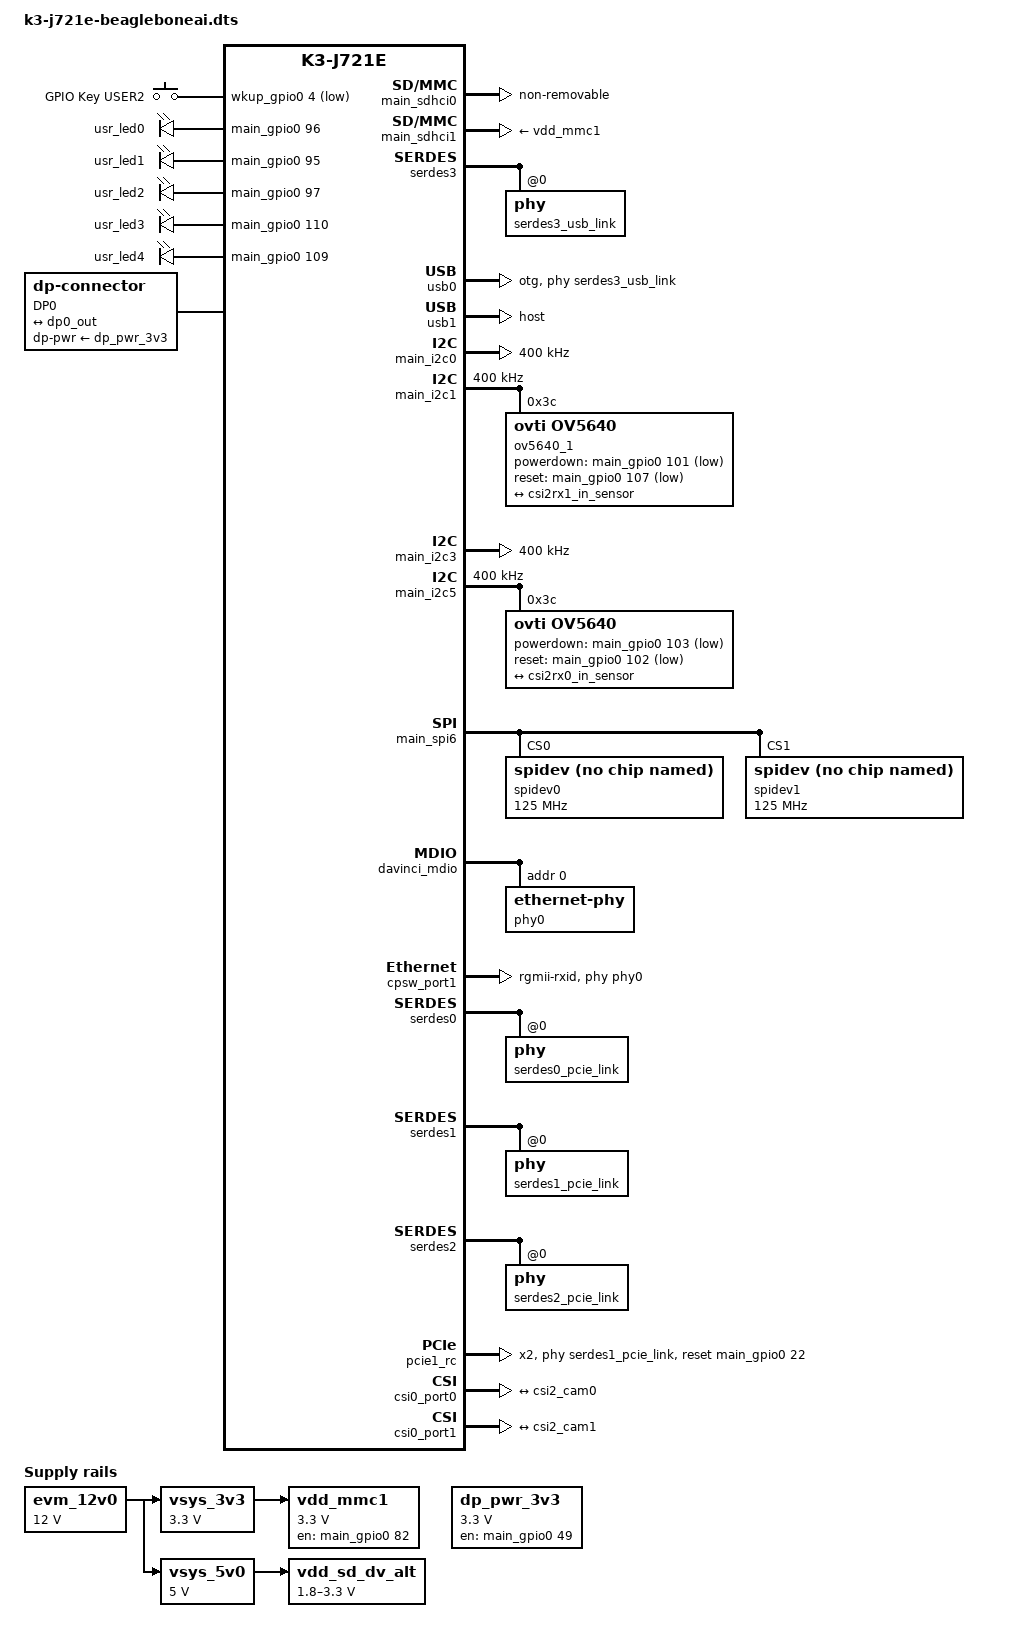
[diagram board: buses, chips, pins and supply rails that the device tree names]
// SPDX-License-Identifier: GPL-2.0
/*
 * Copyright (C) 2019 Texas Instruments Incorporated - https://www.ti.com/
 */

/dts-v1/;

#include "k3-j721e-som-p0.dtsi"
#include <dt-bindings/gpio/gpio.h>
#include <dt-bindings/input/input.h>
#include <dt-bindings/net/ti-dp83867.h>

/ {
	chosen {
		stdout-path = "serial2:115200n8";
		bootargs = "console=ttyS2,115200n8 earlycon=ns16550a,mmio32,0x02800000";
		base_dtb = "k3-j721e-beagleboneai.dts";
		base_dtb_timestamp = __TIMESTAMP__;
	};

	gpio_keys: gpio-keys {
		compatible = "gpio-keys";
		autorepeat;
		pinctrl-names = "default";
		pinctrl-0 = <&sw_pwr_pins_default>;
		sw2: sw2 {
			label = "GPIO Key USER2";
			linux,code = <BTN_0>;
			gpios = <&wkup_gpio0 4 GPIO_ACTIVE_LOW>;
		};
	};

	gpio_leds: gpio-leds {
		compatible = "gpio-leds";
		pinctrl-names = "default";
		pinctrl-0 = <&led_pins_default>;

		usr_led0: usr_led0 {
			label = "usr_led0";
			default-state = "keep";
			linux,default-trigger = "mmc0";
			gpios = <&main_gpio0 96 GPIO_ACTIVE_HIGH>;
		};

		usr_led1: usr_led1 {
			label = "usr_led1";
			default-state = "keep";
			linux,default-trigger = "mmc1";
			gpios = <&main_gpio0 95 GPIO_ACTIVE_HIGH>;
		};

		usr_led2: usr_led2 {
			label = "usr_led2";
			linux,default-trigger = "default-off";
			gpios = <&main_gpio0 97 GPIO_ACTIVE_HIGH>;
		};

		usr_led3: usr_led3 {
			label = "usr_led3";
			linux,default-trigger = "default-off";
			gpios = <&main_gpio0 110 GPIO_ACTIVE_HIGH>;
		};

		usr_led4: usr_led4 {
			label = "usr_led4";
			linux,default-trigger = "default-off";
			gpios = <&main_gpio0 109 GPIO_ACTIVE_HIGH>;
		};
	};

	evm_12v0: fixedregulator-evm12v0 {
		/* main supply */
		compatible = "regulator-fixed";
		regulator-name = "evm_12v0";
		regulator-min-microvolt = <12000000>;
		regulator-max-microvolt = <12000000>;
		regulator-always-on;
		regulator-boot-on;
	};

	vsys_3v3: fixedregulator-vsys3v3 {
		/* Output of LMS140 */
		compatible = "regulator-fixed";
		regulator-name = "vsys_3v3";
		regulator-min-microvolt = <3300000>;
		regulator-max-microvolt = <3300000>;
		vin-supply = <&evm_12v0>;
		regulator-always-on;
		regulator-boot-on;
	};

	vsys_5v0: fixedregulator-vsys5v0 {
		/* Output of LM5140 */
		compatible = "regulator-fixed";
		regulator-name = "vsys_5v0";
		regulator-min-microvolt = <5000000>;
		regulator-max-microvolt = <5000000>;
		vin-supply = <&evm_12v0>;
		regulator-always-on;
		regulator-boot-on;
	};

	vdd_mmc1: fixedregulator-sd {
		compatible = "regulator-fixed";
		pinctrl-names = "default";
		pinctrl-0 = <&sd_pwr_en_pins_default>;
		regulator-name = "vdd_mmc1";
		regulator-min-microvolt = <3300000>;
		regulator-max-microvolt = <3300000>;
		regulator-boot-on;
		enable-active-high;
		vin-supply = <&vsys_3v3>;
		gpios = <&main_gpio0 82 GPIO_ACTIVE_HIGH>;
	};

	vdd_sd_dv_alt: gpio-regulator-TLV71033 {
		compatible = "regulator-gpio";
		pinctrl-names = "default";
		pinctrl-0 = <&vdd_sd_dv_alt_pins_default>;
		regulator-name = "tlv71033";
		regulator-min-microvolt = <1800000>;
		regulator-max-microvolt = <3300000>;
		regulator-boot-on;
		vin-supply = <&vsys_5v0>;
		gpios = <&main_gpio0 117 GPIO_ACTIVE_HIGH>;
		states = <1800000 0x0>,
			 <3300000 0x1>;
	};

	cpsw9g_virt_mac: main_r5fss_cpsw9g_virt_mac0 {
		compatible = "ti,j721e-cpsw-virt-mac";
		dma-coherent;
		ti,psil-base = <0x4a00>;
		ti,remote-name = "mpu_1_0_ethswitch-device-0";

		dmas = <&main_udmap 0xca00>,
		       <&main_udmap 0xca01>,
		       <&main_udmap 0xca02>,
		       <&main_udmap 0xca03>,
		       <&main_udmap 0xca04>,
		       <&main_udmap 0xca05>,
		       <&main_udmap 0xca06>,
		       <&main_udmap 0xca07>,
		       <&main_udmap 0x4a00>;
		dma-names = "tx0", "tx1", "tx2", "tx3",
			    "tx4", "tx5", "tx6", "tx7",
			    "rx";

		virt_emac_port {
			ti,label = "virt-port";
			/* local-mac-address = [0 0 0 0 0 0]; */
		};
	};

	transceiver1: can-phy@0 {
		status = "disabled";
	};

	transceiver2: can-phy@1 {
		status = "disabled";
	};

	dp_pwr_3v3: fixedregulator-dp-prw {
		compatible = "regulator-fixed";
		pinctrl-names = "default";
		pinctrl-0 = <&dp0_3v3_en_pins_default>;
		regulator-name = "dp-pwr";
		regulator-min-microvolt = <3300000>;
		regulator-max-microvolt = <3300000>;
		gpios = <&main_gpio0 49 GPIO_ACTIVE_HIGH>; /* DP0_PWR_SW_EN */
		enable-active-high;

		/* Always on for now, until dp-connector driver can handle this */
		regulator-always-on;
	};

	dp0: connector {
		compatible = "dp-connector";
		label = "DP0";
		type = "full-size";
		dp-pwr-supply = <&dp_pwr_3v3>;

		port {
			dp_connector_in: endpoint {
				remote-endpoint = <&dp0_out>;
			};
		};
	};

	clk_ov5640_fixed: ov5640-xclk {
		compatible = "fixed-clock";
		#clock-cells = <0>;
		clock-frequency = <25000000>;
	};
};

&main_pmx0 {
	led_pins_default: led-pins-default {
		pinctrl-single,pins = <
			J721E_IOPAD(0x184, PIN_INPUT, 7) /* (T23) RGMII5_RD0.GPIO0_96 */
			J721E_IOPAD(0x180, PIN_INPUT, 7) /* (R23) RGMII5_RD1.GPIO0_95 */
			J721E_IOPAD(0x188, PIN_INPUT, 7) /* (Y28) RGMII6_TX_CTL.GPIO0_97 */
			J721E_IOPAD(0x1bc, PIN_INPUT, 7) /* (V24) MDIO0_MDC.GPIO0_110 */
			J721E_IOPAD(0x1b8, PIN_INPUT, 7) /* (V26) MDIO0_MDIO.GPIO0_109 */
		>;
	};

	main_mmc1_pins_default: main-mmc1-pins-default {
		pinctrl-single,pins = <
			J721E_IOPAD(0x254, PIN_INPUT, 0) /* (R29) MMC1_CMD */
			J721E_IOPAD(0x250, PIN_INPUT, 0) /* (P25) MMC1_CLK */
			J721E_IOPAD(0x2ac, PIN_INPUT, 0) /* (P25) MMC1_CLKLB */
			J721E_IOPAD(0x24c, PIN_INPUT, 0) /* (R24) MMC1_DAT0 */
			J721E_IOPAD(0x248, PIN_INPUT, 0) /* (P24) MMC1_DAT1 */
			J721E_IOPAD(0x244, PIN_INPUT, 0) /* (R25) MMC1_DAT2 */
			J721E_IOPAD(0x240, PIN_INPUT, 0) /* (R26) MMC1_DAT3 */
			J721E_IOPAD(0x258, PIN_INPUT, 0) /* (P23) MMC1_SDCD */
			J721E_IOPAD(0x25c, PIN_INPUT, 0) /* (R28) MMC1_SDWP */
		>;
	};

	sd_pwr_en_pins_default: sd-pwr-en-pins-default {
		pinctrl-single,pins = <
			J721E_IOPAD(0x14c, PIN_INPUT, 7) /* (AA29) PRG0_PRU1_GPO19.GPIO0_82 */
		>;
	};

	vdd_sd_dv_alt_pins_default: vdd-sd-dv-alt-pins-default {
		pinctrl-single,pins = <
			J721E_IOPAD(0x1d8, PIN_INPUT, 7) /* (W4) SPI1_CS1.GPIO0_117 */
		>;
	};

	main_usbss1_pins_default: main-usbss1-pins-default {
		pinctrl-single,pins = <
			J721E_IOPAD(0x290, PIN_OUTPUT, 1) /* (U6) USB0_DRVVBUS.USB1_DRVVBUS */
		>;
	};

	dp0_3v3_en_pins_default:dp0-3v3-en-pins-default {
		pinctrl-single,pins = <
			J721E_IOPAD(0xc8, PIN_INPUT, 7) /* (AE26) PRG0_PRU0_GPO6.GPIO0_49 */
		>;
	};

	dp0_pins_default: dp0-pins-default {
		pinctrl-single,pins = <
			J721E_IOPAD(0x1c4, PIN_INPUT, 5) /* (Y4) SPI0_CS1.DP0_HPD */
		>;
	};

	main_i2c0_pins_default: main-i2c0-pins-default {
		pinctrl-single,pins = <
			J721E_IOPAD(0x220, PIN_INPUT_PULLUP, 0) /* (AC5) I2C0_SCL */
			J721E_IOPAD(0x224, PIN_INPUT_PULLUP, 0) /* (AA5) I2C0_SDA */
		>;
	};

	main_i2c1_pins_default: main-i2c1-pins-default {
		pinctrl-single,pins = <
			J721E_IOPAD(0x228, PIN_INPUT_PULLUP, 0) /* (Y6) I2C1_SCL */
			J721E_IOPAD(0x22c, PIN_INPUT_PULLUP, 0) /* (AA6) I2C1_SDA */
		>;
	};

	main_i2c3_pins_default: main-i2c3-pins-default {
		pinctrl-single,pins = <
			J721E_IOPAD(0x270, PIN_INPUT_PULLUP, 4) /* (T26) MMC2_CLK.I2C3_SCL */
			J721E_IOPAD(0x274, PIN_INPUT_PULLUP, 4) /* (T25) MMC2_CMD.I2C3_SDA */
		>;
	};

	main_i2c5_pins_default: main-i2c5-pins-default {
		pinctrl-single,pins = <
			J721E_IOPAD(0x150, PIN_INPUT_PULLUP, 2) /* (Y26) PRG0_MDIO0_MDIO.I2C5_SCL */
			J721E_IOPAD(0x154, PIN_INPUT_PULLUP, 2) /* (AA27) PRG0_MDIO0_MDC.I2C5_SDA */
		>;
	};

	main_spi6_pins_default: main-spi6-pins-default {
		pinctrl-single,pins = <
			J721E_IOPAD(0x74, PIN_OUTPUT, 4) /* (AC21) PRG1_PRU1_GPO7.SPI6_CS0 */
			J721E_IOPAD(0x28, PIN_OUTPUT, 4) /* (AG20) PRG1_PRU0_GPO9.SPI6_CS1 */
			J721E_IOPAD(0x9c, PIN_OUTPUT, 4) /* (AC22) PRG1_PRU1_GPO17.SPI6_CLK */
			J721E_IOPAD(0xa0, PIN_OUTPUT, 4) /* (AJ22) PRG1_PRU1_GPO18.SPI6_D0 */
			J721E_IOPAD(0xa4, PIN_INPUT, 4) /* (AH22) PRG1_PRU1_GPO19.SPI6_D1 */
		>;
	};

	csi0_gpio_pins_default: csi0-gpio-pins-default {
		pinctrl-single,pins = <
			J721E_IOPAD(0x19c, PIN_INPUT_PULLDOWN, 7) /* (W27) RGMII6_TD0.GPIO0_102 */
			J721E_IOPAD(0x1a0, PIN_INPUT_PULLDOWN, 7) /* (W29) RGMII6_TXC.GPIO0_103 */
		>;
	};

	csi1_gpio_pins_default: csi1-gpio-pins-default {
		pinctrl-single,pins = <
			J721E_IOPAD(0x198, PIN_INPUT_PULLDOWN, 7) /* (V25) RGMII6_TD1.GPIO0_101 */
			J721E_IOPAD(0x1b0, PIN_INPUT_PULLDOWN, 7) /* (W24) RGMII6_RD1.GPIO0_107 */
		>;
	};

	main_p8_pins_default: main-p8-pins-default {
		pinctrl-single,pins = <
			J721E_IOPAD(0x54, PIN_INPUT, 7) /* (AH21) PRG1_PRU0_GPO19.GPIO0_20 */
			J721E_IOPAD(0xc4, PIN_INPUT, 7) /* (AC29) PRG0_PRU0_GPO5.GPIO0_48 */
			J721E_IOPAD(0x88, PIN_INPUT, 7) /* (AH25) PRG1_PRU1_GPO12.GPIO0_33 */
			J721E_IOPAD(0x8c, PIN_INPUT, 7) /* (AG25) PRG1_PRU1_GPO13.GPIO0_34 */
			J721E_IOPAD(0x3c, PIN_INPUT, 7) /* (AD24) PRG1_PRU0_GPO14.GPIO0_15 */
			J721E_IOPAD(0x38, PIN_INPUT, 7) /* (AG24) PRG1_PRU0_GPO13.GPIO0_14 */
			J721E_IOPAD(0x44, PIN_INPUT, 7) /* (AE24) PRG1_PRU0_GPO16.GPIO0_17 */
			J721E_IOPAD(0x40, PIN_INPUT, 7) /* (AC24) PRG1_PRU0_GPO15.GPIO0_16 */

			J721E_IOPAD(0xf4, PIN_INPUT, 7) /* (AB24) PRG0_PRU0_GPO17.GPIO0_60 */
			J721E_IOPAD(0xf0, PIN_INPUT, 7) /* (AH28) PRG0_PRU0_GPO16.GPIO0_59 */
			J721E_IOPAD(0x168, PIN_INPUT, 7) /* (V27) RGMII5_TD1.GPIO0_89 */
			J721E_IOPAD(0x130, PIN_INPUT, 7) /* (AF27) PRG0_PRU1_GPO12.GPIO0_75 */
			J721E_IOPAD(0xf8, PIN_INPUT, 7) /* (AB29) PRG0_PRU0_GPO18.GPIO0_61 */
			J721E_IOPAD(0xfc, PIN_INPUT, 7) /* (AB28) PRG0_PRU0_GPO19.GPIO0_62 */
			J721E_IOPAD(0xc, PIN_INPUT, 7) /* (AF22) PRG1_PRU0_GPO2.GPIO0_3 */
			J721E_IOPAD(0x10, PIN_INPUT, 7) /* (AJ23) PRG1_PRU0_GPO3.GPIO0_4 */

			J721E_IOPAD(0x164, PIN_INPUT, 7) /* (V29) RGMII5_TD2.GPIO0_88 */
			J721E_IOPAD(0x134, PIN_INPUT, 7) /* (AF26) PRG0_PRU1_GPO13.GPIO0_76 */
			J721E_IOPAD(0x7c, PIN_INPUT, 7) /* (AF21) PRG1_PRU1_GPO9.GPIO0_30 */
			J721E_IOPAD(0x14, PIN_INPUT, 7) /* (AH23) PRG1_PRU0_GPO4.GPIO0_5 */
			J721E_IOPAD(0x80, PIN_INPUT, 7) /* (AB23) PRG1_PRU1_GPO10.GPIO0_31 */
			J721E_IOPAD(0x18, PIN_INPUT, 7) /* (AD20) PRG1_PRU0_GPO5.GPIO0_6 */
			J721E_IOPAD(0x90, PIN_INPUT, 7) /* (AH26) PRG1_PRU1_GPO14.GPIO0_35 */
			J721E_IOPAD(0xd0, PIN_INPUT, 7) /* (AC27) PRG0_PRU0_GPO8.GPIO0_51 */

			J721E_IOPAD(0x120, PIN_INPUT, 7) /* (AA28) PRG0_PRU1_GPO8.GPIO0_71 */
			J721E_IOPAD(0x124, PIN_INPUT, 7) /* (Y24) PRG0_PRU1_GPO9.GPIO0_72 */
			J721E_IOPAD(0x128, PIN_INPUT, 7) /* (AA25) PRG0_PRU1_GPO10.GPIO0_73 */
			J721E_IOPAD(0x12c, PIN_INPUT, 7) /* (AG26) PRG0_PRU1_GPO11.GPIO0_74 */

			J721E_IOPAD(0x84, PIN_INPUT, 7) /* (AJ25) PRG1_PRU1_GPO11.GPIO0_32 */
			J721E_IOPAD(0x100, PIN_INPUT, 7) /* (AE29) PRG0_PRU1_GPO0.GPIO0_63 */
			J721E_IOPAD(0x6c, PIN_INPUT, 7) /* (AG21) PRG1_PRU1_GPO5.GPIO0_26 */
			J721E_IOPAD(0x104, PIN_INPUT, 7) /* (AD28) PRG0_PRU1_GPO1.GPIO0_64 */

			J721E_IOPAD(0x68, PIN_INPUT, 7) /* (AH24) PRG1_PRU1_GPO4.GPIO0_25 */
			J721E_IOPAD(0x1c0, PIN_INPUT, 7) /* (AA2) SPI0_CS0.GPIO0_111 */
			J721E_IOPAD(0x1c, PIN_INPUT, 7) /* (AD22) PRG1_PRU0_GPO6.GPIO0_7 */

			J721E_IOPAD(0x64, PIN_INPUT, 7) /* (AD23) PRG1_PRU1_GPO3.GPIO0_24 */
			J721E_IOPAD(0x1d4, PIN_INPUT, 7) /* (Y3) SPI1_CS0.GPIO0_116 */
			J721E_IOPAD(0x20, PIN_INPUT, 7) /* (AE20) PRG1_PRU0_GPO7.GPIO0_8 */

			J721E_IOPAD(0x1ac, PIN_INPUT, 7) /* (Y27) RGMII6_RD2.GPIO0_106 */
			J721E_IOPAD(0x2c, PIN_INPUT, 7) /* (AD21) PRG1_PRU0_GPO10.GPIO0_11 */
			J721E_IOPAD(0x1a8, PIN_INPUT, 7) /* (Y29) RGMII6_RD3.GPIO0_105 */
			J721E_IOPAD(0x24, PIN_INPUT, 7) /* (AJ20) PRG1_PRU0_GPO8.GPIO0_9 */

			J721E_IOPAD(0x118, PIN_INPUT, 7) /* (AC26) PRG0_PRU1_GPO6.GPIO0_69 */
			J721E_IOPAD(0x11c, PIN_INPUT, 7) /* (AA24) PRG0_PRU1_GPO7.GPIO0_70 */
			J721E_IOPAD(0x110, PIN_INPUT, 7) /* (AD29) PRG0_PRU1_GPO4.GPIO0_67 */
			J721E_IOPAD(0x114, PIN_INPUT, 7) /* (AB27) PRG0_PRU1_GPO5.GPIO0_68 */
			J721E_IOPAD(0x108, PIN_INPUT, 7) /* (AD27) PRG0_PRU1_GPO2.GPIO0_65 */
			J721E_IOPAD(0x10c, PIN_INPUT, 7) /* (AC25) PRG0_PRU1_GPO3.GPIO0_66 */
			J721E_IOPAD(0x140, PIN_INPUT, 7) /* (AG29) PRG0_PRU1_GPO16.GPIO0_79 */
			J721E_IOPAD(0x144, PIN_INPUT, 7) /* (Y25) PRG0_PRU1_GPO17.GPIO0_80 */

			J721E_IOPAD(0x5c, PIN_INPUT, 7) /* (AG23) PRG1_PRU1_GPO1.GPIO0_22 */
		>;
	};

	main_p9_pins_default: main-p9-pins-default {
		pinctrl-single,pins = <
			J721E_IOPAD(0x4, PIN_INPUT, 7) /* (AC23) PRG1_PRU0_GPO0.GPIO0_1 */
			J721E_IOPAD(0xb8, PIN_INPUT, 7) /* (AE27) PRG0_PRU0_GPO2.GPIO0_45 */
			J721E_IOPAD(0x8, PIN_INPUT, 7) /* (AG22) PRG1_PRU0_GPO1.GPIO0_2 */
			J721E_IOPAD(0x178, PIN_INPUT, 7) /* (U27) RGMII5_RD3.GPIO0_93 */
			J721E_IOPAD(0xc0, PIN_INPUT, 7) /* (AD25) PRG0_PRU0_GPO4.GPIO0_47 */
			J721E_IOPAD(0x17c, PIN_INPUT, 7) /* (U24) RGMII5_RD2.GPIO0_94 */

/*			J721E_IOPAD(0x74, PIN_INPUT, 7)*/ /* (AC21) PRG1_PRU1_GPO7.GPIO0_28 */
			J721E_IOPAD(0x1d0, PIN_INPUT, 7) /* (AA3) SPI0_D1.GPIO0_115 */
/*			J721E_IOPAD(0xa4, PIN_INPUT, 7)*/ /* (AH22) PRG1_PRU1_GPO19.GPIO0_40 */
			J721E_IOPAD(0x1e4, PIN_INPUT, 7) /* (Y2) SPI1_D1.GPIO0_120 */

			J721E_IOPAD(0x208, PIN_INPUT, 7) /* (W5) MCAN0_RX.GPIO1_1 */
			J721E_IOPAD(0x13c, PIN_INPUT, 7) /* (AF29) PRG0_PRU1_GPO15.GPIO0_78 */
			J721E_IOPAD(0x20c, PIN_INPUT, 7) /* (W6) MCAN0_TX.GPIO1_2 */
			J721E_IOPAD(0x138, PIN_INPUT, 7) /* (AE25) PRG0_PRU1_GPO14.GPIO0_77 */

/*			J721E_IOPAD(0xa0, PIN_INPUT, 7)*/ /* (AJ22) PRG1_PRU1_GPO18.GPIO0_39 */
			J721E_IOPAD(0x16c, PIN_INPUT, 7) /* (U28) RGMII5_TD0.GPIO0_90 */
/*			J721E_IOPAD(0x9c, PIN_INPUT, 7)*/ /* (AC22) PRG1_PRU1_GPO17.GPIO0_38 */
			J721E_IOPAD(0x170, PIN_INPUT, 7) /* (U29) RGMII5_TXC.GPIO0_91 */

/*			J721E_IOPAD(0x28, PIN_INPUT, 7)*/ /* (AG20) PRG1_PRU0_GPO9.GPIO0_10 */
			J721E_IOPAD(0x1e0, PIN_INPUT, 7) /* (Y5) SPI1_D0.GPIO0_119 */
			J721E_IOPAD(0x34, PIN_INPUT, 7) /* (AJ24) PRG1_PRU0_GPO12.GPIO0_13 */

			J721E_IOPAD(0x200, PIN_INPUT, 7) /* (AC4) UART1_CTSn.GPIO0_127 */
			J721E_IOPAD(0x1a4, PIN_INPUT, 7) /* (W26) RGMII6_RXC.GPIO0_104 */
			J721E_IOPAD(0x1dc, PIN_INPUT, 7) /* (Y1) SPI1_CLK.GPIO0_118 */
			J721E_IOPAD(0x30, PIN_INPUT, 7) /* (AF24) PRG1_PRU0_GPO11.GPIO0_12 */
			J721E_IOPAD(0xbc, PIN_INPUT, 7) /* (AD26) PRG0_PRU0_GPO3.GPIO0_46 */
			J721E_IOPAD(0x1f4, PIN_INPUT, 7) /* (AB1) UART0_RTSn.GPIO0_124 */
			J721E_IOPAD(0x230, PIN_INPUT, 7) /* (U2) ECAP0_IN_APWM_OUT.GPIO1_11 */
			J721E_IOPAD(0xb0, PIN_INPUT, 7) /* (AF28) PRG0_PRU0_GPO0.GPIO0_43 */

			J721E_IOPAD(0x23c, PIN_INPUT, 7) /* (V5) TIMER_IO1.GPIO1_14 */
			J721E_IOPAD(0xd8, PIN_INPUT, 7) /* (AB25) PRG0_PRU0_GPO10.GPIO0_53 */
			J721E_IOPAD(0x238, PIN_INPUT, 7) /* (V6) TIMER_IO0.GPIO1_13 */
			J721E_IOPAD(0xb4, PIN_INPUT, 7) /* (AE28) PRG0_PRU0_GPO1.GPIO0_44 */
			J721E_IOPAD(0x234, PIN_INPUT, 7) /* (U3) EXT_REFCLK1.GPIO1_12 */
			J721E_IOPAD(0xd4, PIN_INPUT, 7) /* (AB26) PRG0_PRU0_GPO9.GPIO0_52 */

			J721E_IOPAD(0xcc, PIN_INPUT, 7) /* (AC28) PRG0_PRU0_GPO7.GPIO0_50 */
			J721E_IOPAD(0xe0, PIN_INPUT, 7) /* (AH27) PRG0_PRU0_GPO12.GPIO0_55 */
			J721E_IOPAD(0xe4, PIN_INPUT, 7) /* (AH29) PRG0_PRU0_GPO13.GPIO0_56 */
			J721E_IOPAD(0xe8, PIN_INPUT, 7) /* (AG28) PRG0_PRU0_GPO14.GPIO0_57 */
			J721E_IOPAD(0xec, PIN_INPUT, 7) /* (AG27) PRG0_PRU0_GPO15.GPIO0_58 */
			J721E_IOPAD(0xdc, PIN_INPUT, 7) /* (AJ28) PRG0_PRU0_GPO11.GPIO0_54 */
			J721E_IOPAD(0x148, PIN_INPUT, 7) /* (AA26) PRG0_PRU1_GPO18.GPIO0_81 */
			J721E_IOPAD(0x204, PIN_INPUT, 7) /* (AD5) UART1_RTSn.GPIO1_0 */
			J721E_IOPAD(0x1f0, PIN_INPUT, 7) /* (AC2) UART0_CTSn.GPIO0_123 */
			J721E_IOPAD(0x4c, PIN_INPUT, 7) /* (AJ21) PRG1_PRU0_GPO17.GPIO0_18 */
		>;
	};
};

&wkup_pmx0 {
	mcu_adc0_pins_default: mcu_adc0_pins_default {
		pinctrl-single,pins = <
			J721E_WKUP_IOPAD(0x130, PIN_INPUT, 0) /* (K25) MCU_ADC0_AIN0 */
			J721E_WKUP_IOPAD(0x134, PIN_INPUT, 0) /* (K26) MCU_ADC0_AIN1 */
			J721E_WKUP_IOPAD(0x138, PIN_INPUT, 0) /* (K28) MCU_ADC0_AIN2 */
			J721E_WKUP_IOPAD(0x13c, PIN_INPUT, 0) /* (L28) MCU_ADC0_AIN3 */
			J721E_WKUP_IOPAD(0x140, PIN_INPUT, 0) /* (K24) MCU_ADC0_AIN4 */
			J721E_WKUP_IOPAD(0x144, PIN_INPUT, 0) /* (K27) MCU_ADC0_AIN5 */
			J721E_WKUP_IOPAD(0x148, PIN_INPUT, 0) /* (K29) MCU_ADC0_AIN6 */
		>;
	};

	mcu_adc1_pins_default: mcu_adc1_pins_default {
		pinctrl-single,pins = <
			J721E_WKUP_IOPAD(0x150, PIN_INPUT, 0) /* (N23) MCU_ADC1_AIN0 */
		>;
	};

	mikro_bus_pins_default: mikro-bus-pins-default {
		pinctrl-single,pins = <
			J721E_WKUP_IOPAD(0x108, PIN_INPUT, 7) /* (E26) PMIC_POWER_EN0.WKUP_GPIO0_66 */
			J721E_WKUP_IOPAD(0xd4, PIN_INPUT, 7) /* (G26) WKUP_GPIO0_9 */
			J721E_WKUP_IOPAD(0xf4, PIN_INPUT, 7) /* (D25) MCU_I3C0_SDA.WKUP_GPIO0_61 */
			J721E_WKUP_IOPAD(0xd0, PIN_INPUT, 7) /* (G27) WKUP_GPIO0_8 */
			J721E_WKUP_IOPAD(0xf0, PIN_INPUT, 7) /* (D26) MCU_I3C0_SCL.WKUP_GPIO0_60 */

			J721E_WKUP_IOPAD(0xb8, PIN_INPUT, 7) /* (F28) WKUP_GPIO0_2 */
			J721E_WKUP_IOPAD(0xb4, PIN_INPUT, 7) /* (F25) WKUP_GPIO0_1 */
			J721E_WKUP_IOPAD(0xb0, PIN_INPUT, 7) /* (F26) WKUP_GPIO0_0 */
			J721E_WKUP_IOPAD(0xbc, PIN_INPUT, 7) /* (F27) WKUP_GPIO0_3 */

			J721E_WKUP_IOPAD(0x44, PIN_INPUT, 7) /* (G22) MCU_OSPI1_D1.WKUP_GPIO0_33 */
			J721E_WKUP_IOPAD(0x48, PIN_INPUT, 7) /* (D23) MCU_OSPI1_D2.WKUP_GPIO0_34 */

			J721E_WKUP_IOPAD(0x4c, PIN_INPUT, 7) /* (C23) MCU_OSPI1_D3.WKUP_GPIO0_35 */
			J721E_WKUP_IOPAD(0x54, PIN_INPUT, 7) /* (E22) MCU_OSPI1_CSn1.WKUP_GPIO0_37 */
			J721E_WKUP_IOPAD(0xdc, PIN_INPUT, 7) /* (H27) WKUP_GPIO0_11 */
			J721E_WKUP_IOPAD(0xac, PIN_INPUT, 7) /* (C29) MCU_MCAN0_RX.WKUP_GPIO0_59 */
		>;
	};

	sw_pwr_pins_default: sw-pwr-pins-default {
		pinctrl-single,pins = <
			J721E_WKUP_IOPAD(0xc0, PIN_INPUT, 7) /* (G25) WKUP_GPIO0_4 */
		>;
	};

	mcu_cpsw_pins_default: mcu-cpsw-pins-default {
		pinctrl-single,pins = <
			J721E_WKUP_IOPAD(0x84, PIN_INPUT, 0) /* (B24) MCU_RGMII1_RD0 */
			J721E_WKUP_IOPAD(0x80, PIN_INPUT, 0) /* (A24) MCU_RGMII1_RD1 */
			J721E_WKUP_IOPAD(0x7c, PIN_INPUT, 0) /* (D24) MCU_RGMII1_RD2 */
			J721E_WKUP_IOPAD(0x78, PIN_INPUT, 0) /* (A25) MCU_RGMII1_RD3 */
			J721E_WKUP_IOPAD(0x74, PIN_INPUT, 0) /* (C24) MCU_RGMII1_RXC */
			J721E_WKUP_IOPAD(0x5c, PIN_INPUT, 0) /* (C25) MCU_RGMII1_RX_CTL */
			J721E_WKUP_IOPAD(0x6c, PIN_OUTPUT, 0) /* (B25) MCU_RGMII1_TD0 */
			J721E_WKUP_IOPAD(0x68, PIN_OUTPUT, 0) /* (A26) MCU_RGMII1_TD1 */
			J721E_WKUP_IOPAD(0x64, PIN_OUTPUT, 0) /* (A27) MCU_RGMII1_TD2 */
			J721E_WKUP_IOPAD(0x60, PIN_OUTPUT, 0) /* (A28) MCU_RGMII1_TD3 */
			J721E_WKUP_IOPAD(0x70, PIN_OUTPUT, 0) /* (B26) MCU_RGMII1_TXC */
			J721E_WKUP_IOPAD(0x58, PIN_OUTPUT, 0) /* (B27) MCU_RGMII1_TX_CTL */
		>;
	};

	mcu_mdio_pins_default: mcu-mdio1-pins-default {
		pinctrl-single,pins = <
			J721E_WKUP_IOPAD(0x8c, PIN_OUTPUT, 0) /* (F23) MCU_MDIO0_MDC */
			J721E_WKUP_IOPAD(0x88, PIN_INPUT, 0) /* (E23) MCU_MDIO0_MDIO */
		>;
	};
};

&wkup_uart0 {
	/* Wakeup UART is used by System firmware */
	status = "reserved";
};

&main_uart0 {
	power-domains = <&k3_pds 146 TI_SCI_PD_SHARED>;
};

&main_uart3 {
	/* UART not brought out */
	status = "disabled";
};

&main_uart5 {
	/* UART not brought out */
	status = "disabled";
};

&main_uart6 {
	/* UART not brought out */
	status = "disabled";
};

&main_uart7 {
	/* UART not brought out */
	status = "disabled";
};

&main_uart8 {
	/* UART not brought out */
	status = "disabled";
};

&main_uart9 {
	/* UART not brought out */
	status = "disabled";
};

&main_gpio0 {
	pinctrl-names = "default";
	pinctrl-0 = <&main_p8_pins_default &main_p9_pins_default>;
};

&main_gpio2 {
	status = "disabled";
};

&main_gpio3 {
	status = "disabled";
};

&main_gpio4 {
	status = "disabled";
};

&main_gpio5 {
	status = "disabled";
};

&main_gpio6 {
	status = "disabled";
};

&main_gpio7 {
	status = "disabled";
};

&wkup_gpio0 {
	pinctrl-names = "default";
	pinctrl-0 = <&mcu_adc0_pins_default &mcu_adc1_pins_default &mikro_bus_pins_default>;
};

&wkup_gpio1 {
	status = "disabled";
};

&main_sdhci0 {
	/* eMMC */
	non-removable;
	ti,driver-strength-ohm = <50>;
	disable-wp;
};

&main_sdhci1 {
	/* SD/MMC */
	vmmc-supply = <&vdd_mmc1>;
	vqmmc-supply = <&vdd_sd_dv_alt>;
	pinctrl-names = "default";
	pinctrl-0 = <&main_mmc1_pins_default>;
	ti,driver-strength-ohm = <50>;
	disable-wp;
};

&main_sdhci2 {
	/* Unused */
	status = "disabled";
};

&usb_serdes_mux {
	idle-states = <1>, <0>; /* USB0 to SERDES3, USB1 to SERDES1 */
};

&serdes_ln_ctrl {
	idle-states = <J721E_SERDES0_LANE0_PCIE0_LANE0>, <J721E_SERDES0_LANE1_PCIE0_LANE1>,
		      <J721E_SERDES1_LANE0_PCIE1_LANE0>, <J721E_SERDES1_LANE1_PCIE1_LANE1>,
		      <J721E_SERDES2_LANE0_PCIE2_LANE0>, <J721E_SERDES2_LANE1_PCIE2_LANE1>,
		      <J721E_SERDES3_LANE0_USB3_0_SWAP>, <J721E_SERDES3_LANE1_USB3_0>,
		      <J721E_SERDES4_LANE0_EDP_LANE0>, <J721E_SERDES4_LANE1_EDP_LANE1>,
		      <J721E_SERDES4_LANE2_EDP_LANE2>, <J721E_SERDES4_LANE3_EDP_LANE3>;
};

&serdes_wiz3 {
	typec-dir-gpios = <&main_gpio1 3 GPIO_ACTIVE_HIGH>;
	typec-dir-debounce-ms = <700>;	/* TUSB321, tCCB_DEFAULT 133 ms */
};

&serdes3 {
	serdes3_usb_link: phy@0 {
		reg = <0>;
		cdns,num-lanes = <2>;
		#phy-cells = <0>;
		cdns,phy-type = <PHY_TYPE_USB3>;
		resets = <&serdes_wiz3 1>, <&serdes_wiz3 2>;
	};
};

&usbss0 {
	ti,vbus-divider;
};

&usb0 {
	dr_mode = "otg";
	maximum-speed = "super-speed";
	phys = <&serdes3_usb_link>;
	phy-names = "cdns3,usb3-phy";
};

&usbss1 {
	pinctrl-names = "default";
	pinctrl-0 = <&main_usbss1_pins_default>;
	ti,usb2-only;
};

&usb1 {
	dr_mode = "host";
	maximum-speed = "high-speed";
};

&tscadc0 {
	adc {
		ti,adc-channels = <0 1 2 3 4 5 6 7>;
	};
};

&tscadc1 {
	adc {
		ti,adc-channels = <0 1 2 3 4 5 6 7>;
	};
};

&main_i2c0 {
	pinctrl-names = "default";
	pinctrl-0 = <&main_i2c0_pins_default>;
	clock-frequency = <400000>;
};

&main_i2c1 {
	pinctrl-names = "default";
	pinctrl-0 = <&main_i2c1_pins_default &csi1_gpio_pins_default>;
	clock-frequency = <400000>;

	ov5640_1: camera1@3c {
		compatible = "ovti,ov5640";
		reg = <0x3c>;

		clocks = <&clk_ov5640_fixed>;
		clock-names = "xclk";
		powerdown-gpios = <&main_gpio0 101 GPIO_ACTIVE_LOW>;
		reset-gpios = <&main_gpio0 107 GPIO_ACTIVE_LOW>;

		port {
			csi2_cam1: endpoint {
				remote-endpoint = <&csi2rx1_in_sensor>;
				clock-lanes = <0>;
				data-lanes = <1 2>;
			};
		};
	};
};

&main_i2c3 {
	pinctrl-names = "default";
	pinctrl-0 = <&main_i2c3_pins_default>;
	clock-frequency = <400000>;
};

&main_i2c5 {
	pinctrl-names = "default";
	pinctrl-0 = <&main_i2c5_pins_default &csi0_gpio_pins_default>;
	clock-frequency = <400000>;

	ov5640: camera@3c {
		compatible = "ovti,ov5640";
		reg = <0x3c>;

		clocks = <&clk_ov5640_fixed>;
		clock-names = "xclk";
		powerdown-gpios = <&main_gpio0 103 GPIO_ACTIVE_LOW>;
		reset-gpios = <&main_gpio0 102 GPIO_ACTIVE_LOW>;

		port {
			csi2_cam0: endpoint {
				remote-endpoint = <&csi2rx0_in_sensor>;
				clock-lanes = <0>;
				data-lanes = <1 2>;
			};
		};
	};
};

&main_spi6 {
	pinctrl-names = "default";
	pinctrl-0 = <&main_spi6_pins_default>;
	ti,spi-num-cs = <2>;
	ti,pindir-d0-out-d1-in;

	spidev0: spidev@0{
		compatible = "spidev";
		reg = <0>;	/* CE0 */
		#address-cells = <1>;
		#size-cells = <0>;
		spi-max-frequency = <125000000>;
	};

	spidev1: spidev@1{
		compatible = "spidev";
		reg = <1>;	/* CE1 */
		#address-cells = <1>;
		#size-cells = <0>;
		spi-max-frequency = <125000000>;
	};
};

&main_i2c6 {
	status = "disabled";
};

&mcu_cpsw {
	pinctrl-names = "default";
	pinctrl-0 = <&mcu_cpsw_pins_default &mcu_mdio_pins_default>;
};

&davinci_mdio {
	phy0: ethernet-phy@0 {
		reg = <0>;
		ti,rx-internal-delay = <DP83867_RGMIIDCTL_2_00_NS>;
		ti,fifo-depth = <DP83867_PHYCR_FIFO_DEPTH_4_B_NIB>;
	};
};

&cpsw_port1 {
	phy-mode = "rgmii-rxid";
	phy-handle = <&phy0>;
};

&dss {
	/*
	 * These clock assignments are chosen to enable the following outputs:
	 *
	 * VP0 - DisplayPort SST
	 * VP1 - DPI0
	 * VP2 - DSI
	 * VP3 - DPI1
	 */

	assigned-clocks = <&k3_clks 152 1>,
				<&k3_clks 152 4>,
				<&k3_clks 152 9>,
				<&k3_clks 152 13>;
	assigned-clock-parents = <&k3_clks 152 2>,	/* PLL16_HSDIV0 */
				<&k3_clks 152 6>,	/* PLL19_HSDIV0 */
				<&k3_clks 152 11>,	/* PLL18_HSDIV0 */
				<&k3_clks 152 18>;	/* PLL23_HSDIV0 */
};

&dss_ports {
	port@0 {
		reg = <0>;

		dpi0_out: endpoint {
			remote-endpoint = <&dp0_in>;
		};
	};
};

&mhdp {
	pinctrl-names = "default";
	pinctrl-0 = <&dp0_pins_default>;
};

&dp0_ports {
	#address-cells = <1>;
	#size-cells = <0>;

	port@0 {
		reg = <0>;
		dp0_in: endpoint {
			remote-endpoint = <&dpi0_out>;
		};
	};

	port@4 {
		reg = <4>;
		dp0_out: endpoint {
			remote-endpoint = <&dp_connector_in>;
		};
	};
};

&mcasp0 {
	status = "disabled";
};

&mcasp1 {
	status = "disabled";
};

&mcasp2 {
	status = "disabled";
};

&mcasp3 {
	status = "disabled";
};

&mcasp4 {
	status = "disabled";
};

&mcasp5 {
	status = "disabled";
};

&mcasp6 {
	status = "disabled";
};

&mcasp7 {
	status = "disabled";
};

&mcasp8 {
	status = "disabled";
};

&mcasp9 {
	status = "disabled";
};

&mcasp10 {
	status = "disabled";
};

&mcasp11 {
	status = "disabled";
};

&cmn_refclk1 {
	clock-frequency = <100000000>;
};

&wiz0_pll1_refclk {
	assigned-clocks = <&wiz0_pll1_refclk>;
	assigned-clock-parents = <&cmn_refclk1>;
};

&wiz0_refclk_dig {
	assigned-clocks = <&wiz0_refclk_dig>;
	assigned-clock-parents = <&cmn_refclk1>;
};

&wiz1_pll1_refclk {
	assigned-clocks = <&wiz1_pll1_refclk>;
	assigned-clock-parents = <&cmn_refclk1>;
};

&wiz1_refclk_dig {
	assigned-clocks = <&wiz1_refclk_dig>;
	assigned-clock-parents = <&cmn_refclk1>;
};

&wiz2_pll1_refclk {
	assigned-clocks = <&wiz2_pll1_refclk>;
	assigned-clock-parents = <&cmn_refclk1>;
};

&wiz2_refclk_dig {
	assigned-clocks = <&wiz2_refclk_dig>;
	assigned-clock-parents = <&cmn_refclk1>;
};

&serdes0 {
	serdes0_pcie_link: phy@0 {
		reg = <0>;
		cdns,num-lanes = <1>;
		#phy-cells = <0>;
		cdns,phy-type = <PHY_TYPE_PCIE>;
		resets = <&serdes_wiz0 1>;
	};
};

&serdes1 {
	serdes1_pcie_link: phy@0 {
		reg = <0>;
		cdns,num-lanes = <2>;
		#phy-cells = <0>;
		cdns,phy-type = <PHY_TYPE_PCIE>;
		resets = <&serdes_wiz1 1>, <&serdes_wiz1 2>;
	};
};

&serdes2 {
	serdes2_pcie_link: phy@0 {
		reg = <0>;
		cdns,num-lanes = <2>;
		#phy-cells = <0>;
		cdns,phy-type = <PHY_TYPE_PCIE>;
		resets = <&serdes_wiz2 1>, <&serdes_wiz2 2>;
	};
};

&pcie0_rc {
	status = "disabled";
};

&pcie1_rc {
	reset-gpios = <&main_gpio0 22 GPIO_ACTIVE_HIGH>;
	phys = <&serdes1_pcie_link>;
	phy-names = "pcie-phy";
	num-lanes = <2>;
};

&pcie2_rc {
	status = "disabled";
};

&pcie0_ep {
	phys = <&serdes0_pcie_link>;
	phy-names = "pcie-phy";
	num-lanes = <1>;
	status = "disabled";
};

&pcie1_ep {
	phys = <&serdes1_pcie_link>;
	phy-names = "pcie-phy";
	num-lanes = <2>;
	status = "disabled";
};

&pcie2_ep {
	phys = <&serdes2_pcie_link>;
	phy-names = "pcie-phy";
	num-lanes = <2>;
	status = "disabled";
};

&pcie3_rc {
	status = "disabled";
};

&pcie3_ep {
	status = "disabled";
};

/* uart2 assigned to cpsw9g eth-switch fw running on remote CPU core */
&main_uart2 {
	status = "disabled";
};

&mcu_mcan0 {
	status = "disabled";
};

&mcu_mcan1 {
	status = "disabled";
};

&main_mcan0 {
	status = "disabled";
};

&main_mcan1 {
	status = "disabled";
};

&main_mcan2 {
	status = "disabled";
};

&main_mcan3 {
	status = "disabled";
};

&main_mcan4 {
	status = "disabled";
};

&main_mcan5 {
	status = "disabled";
};

&main_mcan6 {
	status = "disabled";
};

&main_mcan7 {
	status = "disabled";
};

&main_mcan8 {
	status = "disabled";
};

&main_mcan9 {
	status = "disabled";
};

&main_mcan10 {
	status = "disabled";
};

&main_mcan11 {
	status = "disabled";
};

&main_mcan12 {
	status = "disabled";
};

&main_mcan13 {
	status = "disabled";
};

&csi0_port0 {
	csi2rx0_in_sensor: endpoint {
		remote-endpoint = <&csi2_cam0>;
		bus-type = <4>; /* CSI2 DPHY. */
		clock-lanes = <0>;
		data-lanes = <1 2>;
	};
};

&csi0_port1 {
	csi2rx1_in_sensor: endpoint {
		remote-endpoint = <&csi2_cam1>;
		bus-type = <4>; /* CSI2 DPHY. */
		clock-lanes = <0>;
		data-lanes = <1 2>;
	};
};

&csi0_port2 {
	status = "disabled";
};

&csi0_port3 {
	status = "disabled";
};

&csi0_port4 {
	status = "disabled";
};
